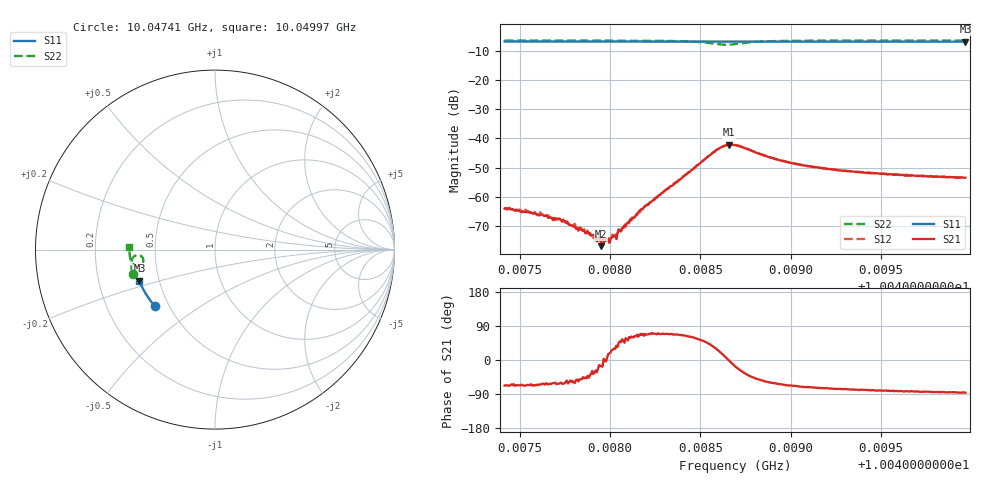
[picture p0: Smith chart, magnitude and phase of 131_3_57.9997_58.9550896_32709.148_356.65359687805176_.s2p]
#  HZ  S  RI  R  50.00
! Rohde & Schwarz Vector Network Analyzer
! Rohde-Schwarz,ZNB20-2Port,1311601062101988,3.16
! Created: UTC 3/21/2024, 12:56:08 AM
! freq[Hz]  re:S11  im:S11  re:S21  im:S21  re:S12  im:S12  re:S22  im:S22
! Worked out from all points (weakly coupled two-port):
!   401 points, 10.04741 GHz to 10.04997 GHz, reference 50 ohm
!   highest |S21| = -42.19 dB at 10.04866 GHz (marker M1); lowest = -77.0 dB at 10.04795 GHz (marker M2)
!   lowest |S11| = -6.8 dB at 10.04997 GHz (marker M3), VSWR 2.67, Z = 19.3 - j8.49 ohm
!   |S11| at or under -10 dB: nowhere
!   |S22| runs from -7.9 to -6.4 dB; largest |S21 - S12| = 0.00053
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1.0047415e10  -0.3335 -0.317  0.000239 -0.000577  0.000306 -0.000564  -0.4587 -0.1363
1.0047626e10  -0.3427 -0.3064  0.00023 -0.000435  0.000235 -0.000438  -0.4621 -0.1216
1.0047683e10  -0.3452 -0.3035  0.000192 -0.000344  0.00024 -0.000355  -0.4628 -0.1174
1.0047728e10  -0.347 -0.3012  0.000201 -0.000343  0.000225 -0.000321  -0.4636 -0.114
1.0047843e10  -0.352 -0.2952  0.00017 -0.000207  0.000198 -0.000188  -0.4651 -0.1052
1.0047887e10  -0.3538 -0.2928  0.000181 -0.000154  0.000177 -0.000134  -0.4655 -0.1018
1.0047913e10  -0.3547 -0.2916  0.000181 -0.000121  0.000178 -6.9e-05  -0.4658 -0.0997
1.0047945e10  -0.3561 -0.2897  0.000182 -5.34e-05  0.000189 -1.54e-05  -0.4661 -0.0973
1.0047951e10  -0.3562 -0.2895  0.000136 -3.74e-05  0.000199 -1.84e-05  -0.4662 -0.0968
1.0047964e10  -0.3568 -0.2889  0.000162 8.7e-06  0.000149 -1.06e-05  -0.4663 -0.0956
1.0047989e10  -0.3578 -0.2873  0.000184 5.32e-05  0.000179 6.47e-05  -0.4665 -0.0934
1.0048028e10  -0.3592 -0.2854  0.000187 0.000106  0.000167 0.000148  -0.4667 -0.0902
1.0048168e10  -0.3648 -0.2779  0.000214 0.000554  0.000206 0.000517  -0.4671 -0.0775
1.004827e10  -0.3688 -0.2722  0.000376 0.000987  0.0003 0.00102  -0.4662 -0.0665
1.0048576e10  -0.3796 -0.2551  0.00495 0.00325  0.00477 0.00351  -0.4208 -0.0314
1.0048621e10  -0.3808 -0.2528  0.0069 0.00195  0.00682 0.00237  -0.4039 -0.0443
1.0048659e10  -0.3821 -0.2508  0.00776 -0.000283  0.00777 0.00023  -0.3995 -0.0646
1.0048691e10  -0.3831 -0.2492  0.00733 -0.00217  0.00752 -0.0017  -0.406 -0.08
1.0048921e10  -0.3913 -0.2364  0.00203 -0.00386  0.00228 -0.00376  -0.4616 -0.0742
1.0049119e10  -0.3978 -0.2249  0.000989 -0.00309  0.0012 -0.00306  -0.4713 -0.052
1.0049547e10  -0.4103 -0.1996  0.000362 -0.00241  0.000502 -0.00237  -0.4762 -0.016
1.0049968e10  -0.4211 -0.174  0.000136 -0.00211  0.000256 -0.0021  -0.4764 0.0143
